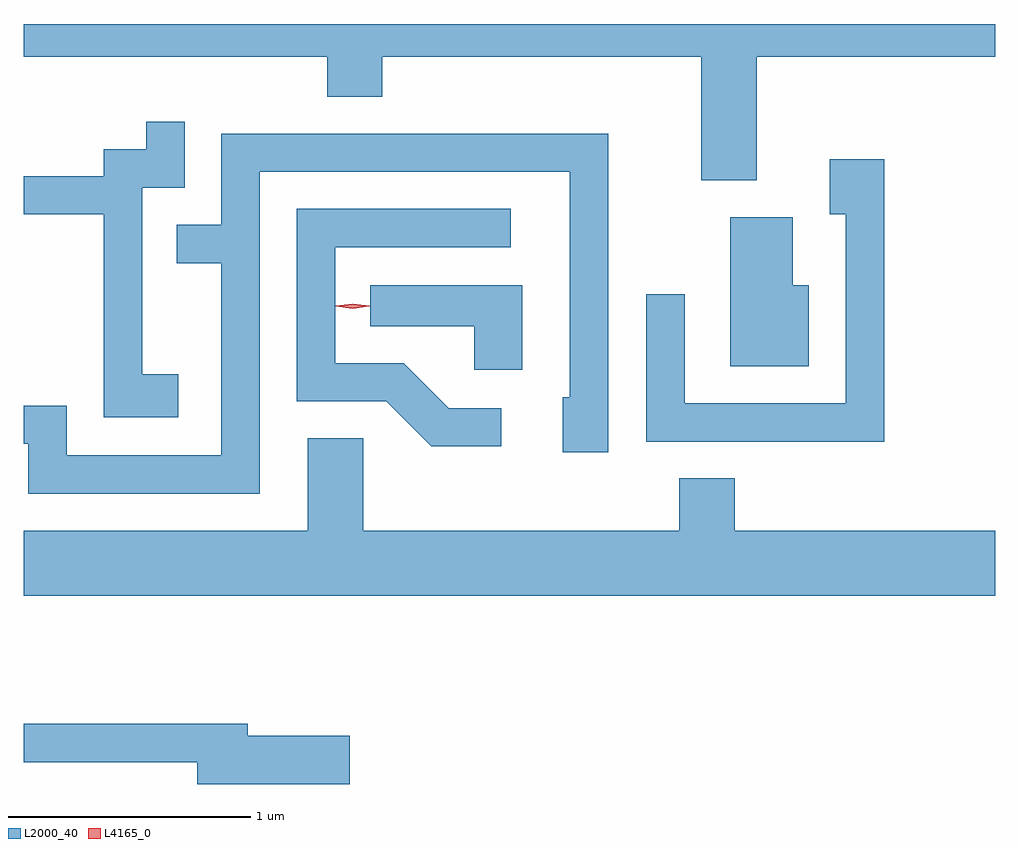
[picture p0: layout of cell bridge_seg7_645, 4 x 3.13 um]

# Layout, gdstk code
import gdstk
lib = gdstk.Library(unit=1e-6, precision=1e-09)
def P(c, l, *ps):  # polygons
    for p in ps: c.add(gdstk.Polygon(p, *l))
L2000_40 = (2000, 40)
L4165_0 = (4165, 0)

bridge_seg7_645 = lib.new_cell('bridge_seg7_645')
P(bridge_seg7_645, L2000_40, [(845.459,1696.556),(846.442,1696.556),(846.442,1696.69),(842.442,1696.69),(842.442,1696.556),(843.691,1696.556),(843.691,1696.391),(843.919,1696.391),(843.919,1696.556),(845.231,1696.556),(845.231,1696.046),(845.459,1696.046)],
  [(843.079,1695.249),(842.929,1695.249),(842.929,1696.016),(843.104,1696.016),(843.104,1696.288),(842.946,1696.288),(842.946,1696.174),(842.771,1696.174),(842.771,1696.064),(842.442,1696.064),(842.442,1695.906),(842.771,1695.906),(842.771,1695.071),(843.079,1695.071)],
  [(843.414,1696.081),(844.691,1696.081),(844.691,1695.154),(844.661,1695.154),(844.661,1694.926),(844.849,1694.926),(844.849,1696.239),(843.256,1696.239),(843.256,1695.864),(843.073,1695.864),(843.073,1695.706),(843.256,1695.706),(843.256,1694.914),(842.619,1694.914),(842.619,1695.119),(842.442,1695.119),(842.442,1694.961),(842.461,1694.961),(842.461,1694.756),(843.414,1694.756)],
  [(845.984,1696.134),(845.761,1696.134),(845.761,1695.906),(845.826,1695.906),(845.826,1695.129),(845.164,1695.129),(845.164,1695.578),(845.006,1695.578),(845.006,1694.971),(845.984,1694.971)],
  [(844.408,1695.109),(844.192,1695.109),(844.007,1695.294),(843.724,1695.294),(843.724,1695.771),(844.448,1695.771),(844.448,1695.929),(843.566,1695.929),(843.566,1695.136),(843.934,1695.136),(844.119,1694.951),(844.408,1694.951)],
  [(845.674,1695.614),(845.609,1695.614),(845.609,1695.894),(845.351,1695.894),(845.351,1695.281),(845.674,1695.281)],
  [(844.494,1695.614),(843.868,1695.614),(843.868,1695.446),(844.296,1695.446),(844.296,1695.266),(844.494,1695.266)],
  [(846.442,1694.604),(845.369,1694.604),(845.369,1694.819),(845.141,1694.819),(845.141,1694.604),(843.839,1694.604),(843.839,1694.984),(843.611,1694.984),(843.611,1694.604),(842.442,1694.604),(842.442,1694.336),(846.442,1694.336)],
  [(843.784,1693.759),(843.364,1693.759),(843.364,1693.809),(842.442,1693.809),(842.442,1693.651),(843.156,1693.651),(843.156,1693.561),(843.784,1693.561)])
P(bridge_seg7_645, L4165_0, [(843.796,1695.518),(843.727,1695.528),(843.727,1695.528),(843.727,1695.529),(843.796,1695.538),(843.865,1695.529),(843.866,1695.528),(843.865,1695.528)],
  [(843.796,1695.518),(843.73,1695.528),(843.729,1695.528),(843.73,1695.529),(843.796,1695.538),(843.862,1695.529),(843.863,1695.528),(843.862,1695.528)])

lib.write_gds('bridge_seg7_645.gds')
